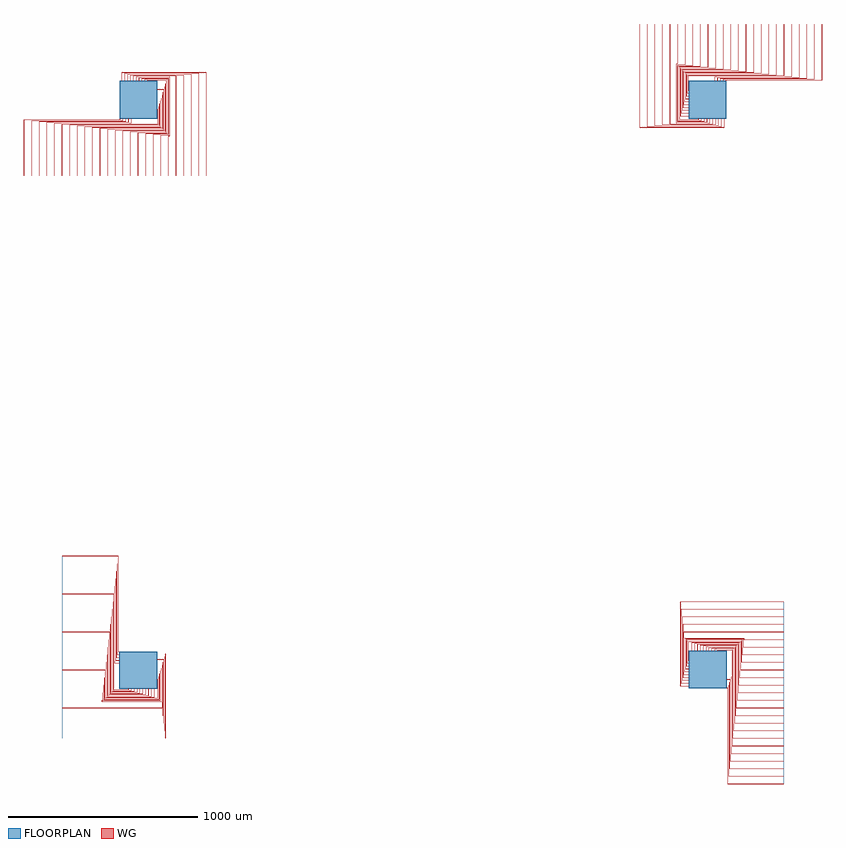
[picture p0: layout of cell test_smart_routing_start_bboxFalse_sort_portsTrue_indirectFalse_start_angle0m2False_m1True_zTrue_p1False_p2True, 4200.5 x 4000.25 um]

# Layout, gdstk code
import gdstk
lib = gdstk.Library(unit=1e-6, precision=1e-09)
def R(c, l, rs):  # rectangles x0, y0, x1, y1
    for r in rs: c.add(gdstk.rectangle(r[:2], r[2:], *l))
def P(c, l, *ps):  # polygons
    for p in ps: c.add(gdstk.Polygon(p, *l))
WG = (1, 0)
FLOORPLAN = (10, 0)

test_smart_routing_start = lib.new_cell('test_smart_routing_start_bboxFalse_sort_portsTrue_indirectFalse_start_angle0m2False_m1True_zTrue_p1False_p2True')
P(test_smart_routing_start, WG, [(-104.5,94.75),(-104.5,599.75),(-400,599.75),(-400,600.25),(-104,600.25),(-104,95.25),(-100,95.25),(-100,94.75)],
  [(-109,79.75),(-109,559.75),(-400,559.75),(-400,560.25),(-108.5,560.25),(-108.5,80.25),(-100,80.25),(-100,79.75)],
  [(-113.5,64.75),(-113.5,519.75),(-400,519.75),(-400,520.25),(-113,520.25),(-113,65.25),(-100,65.25),(-100,64.75)],
  [(-118,49.75),(-118,479.75),(-400,479.75),(-400,480.25),(-117.5,480.25),(-117.5,50.25),(-100,50.25),(-100,49.75)],
  [(-122.5,34.75),(-122.5,439.75),(-400,439.75),(-400,440.25),(-122,440.25),(-122,35.25),(-100,35.25),(-100,34.75)],
  [(-127,-104.5),(-127,399.75),(-400,399.75),(-400,400.25),(-126.5,400.25),(-126.5,-104),(-50.25,-104),(-50.25,-100),(-49.75,-100),(-49.75,-104.5)],
  [(-131.5,-109),(-131.5,359.75),(-400,359.75),(-400,360.25),(-131,360.25),(-131,-108.5),(-35.25,-108.5),(-35.25,-100),(-34.75,-100),(-34.75,-109)],
  [(-136,-113.5),(-136,319.75),(-400,319.75),(-400,320.25),(-135.5,320.25),(-135.5,-113),(-20.25,-113),(-20.25,-100),(-19.75,-100),(-19.75,-113.5)],
  [(-140.5,-118),(-140.5,279.75),(-400,279.75),(-400,280.25),(-140,280.25),(-140,-117.5),(-5.25,-117.5),(-5.25,-100),(-4.75,-100),(-4.75,-118)],
  [(-145,-122.5),(-145,239.75),(-400,239.75),(-400,240.25),(-144.5,240.25),(-144.5,-122),(9.75,-122),(9.75,-100),(10.25,-100),(10.25,-122.5)],
  [(-149.5,-127),(-149.5,199.75),(-400,199.75),(-400,200.25),(-149,200.25),(-149,-126.5),(24.75,-126.5),(24.75,-100),(25.25,-100),(25.25,-127)],
  [(-154,-131.5),(-154,159.75),(-400,159.75),(-400,160.25),(-153.5,160.25),(-153.5,-131),(39.75,-131),(39.75,-100),(40.25,-100),(40.25,-131.5)],
  [(-158.5,-136),(-158.5,119.75),(-400,119.75),(-400,120.25),(-158,120.25),(-158,-135.5),(54.75,-135.5),(54.75,-100),(55.25,-100),(55.25,-136)],
  [(-163,-140.5),(-163,79.75),(-400,79.75),(-400,80.25),(-162.5,80.25),(-162.5,-140),(69.75,-140),(69.75,-100),(70.25,-100),(70.25,-140.5)],
  [(-167.5,-145),(-167.5,39.75),(-400,39.75),(-400,40.25),(-167,40.25),(-167,-144.5),(84.75,-144.5),(84.75,-100),(85.25,-100),(85.25,-145)],
  [(-172,-149.5),(-172,-0.25),(-400,-0.25),(-400,0.25),(-171.5,0.25),(-171.5,-149),(104,-149),(104,-50.25),(100,-50.25),(100,-49.75),(104.5,-49.75),(104.5,-149.5)],
  [(-176.5,-154),(-176.5,-40.25),(-400,-40.25),(-400,-39.75),(-176,-39.75),(-176,-153.5),(108.5,-153.5),(108.5,-35.25),(100,-35.25),(100,-34.75),(109,-34.75),(109,-154)],
  [(-181,-158.5),(-181,-80.25),(-400,-80.25),(-400,-79.75),(-180.5,-79.75),(-180.5,-158),(113,-158),(113,-20.25),(100,-20.25),(100,-19.75),(113.5,-19.75),(113.5,-158.5)],
  [(-185.5,-163),(-185.5,-120.25),(-400,-120.25),(-400,-119.75),(-185,-119.75),(-185,-162.5),(117.5,-162.5),(117.5,-5.25),(100,-5.25),(100,-4.75),(118,-4.75),(118,-163)],
  [(-190,-167.5),(-190,-160.25),(-400,-160.25),(-400,-159.75),(-189.5,-159.75),(-189.5,-167),(122,-167),(122,9.75),(100,9.75),(100,10.25),(122.5,10.25),(122.5,-167.5)],
  [(-400,-200.25),(-400,-199.75),(126.5,-199.75),(126.5,24.75),(100,24.75),(100,25.25),(127,25.25),(127,-200.25)],
  [(-400,-240.25),(-400,-239.75),(131,-239.75),(131,39.75),(100,39.75),(100,40.25),(131.5,40.25),(131.5,-240.25)],
  [(-400,-280.25),(-400,-279.75),(135.5,-279.75),(135.5,54.75),(100,54.75),(100,55.25),(136,55.25),(136,-280.25)],
  [(-400,-320.25),(-400,-319.75),(140,-319.75),(140,69.75),(100,69.75),(100,70.25),(140.5,70.25),(140.5,-320.25)],
  [(-400,-360.25),(-400,-359.75),(144.5,-359.75),(144.5,84.75),(100,84.75),(100,85.25),(145,85.25),(145,-360.25)],
  [(-600.25,2600),(-600.25,2896),(-95.25,2896),(-95.25,2900),(-94.75,2900),(-94.75,2895.5),(-599.75,2895.5),(-599.75,2600)],
  [(-560.25,2600),(-560.25,2891.5),(-80.25,2891.5),(-80.25,2900),(-79.75,2900),(-79.75,2891),(-559.75,2891),(-559.75,2600)],
  [(-520.25,2600),(-520.25,2887),(-65.25,2887),(-65.25,2900),(-64.75,2900),(-64.75,2886.5),(-519.75,2886.5),(-519.75,2600)],
  [(-480.25,2600),(-480.25,2882.5),(-50.25,2882.5),(-50.25,2900),(-49.75,2900),(-49.75,2882),(-479.75,2882),(-479.75,2600)],
  [(-440.25,2600),(-440.25,2878),(-35.25,2878),(-35.25,2900),(-34.75,2900),(-34.75,2877.5),(-439.75,2877.5),(-439.75,2600)],
  [(-400.25,2600),(-400.25,2873.5),(104,2873.5),(104,2949.75),(100,2949.75),(100,2950.25),(104.5,2950.25),(104.5,2873),(-399.75,2873),(-399.75,2600)],
  [(-360.25,2600),(-360.25,2869),(108.5,2869),(108.5,2964.75),(100,2964.75),(100,2965.25),(109,2965.25),(109,2868.5),(-359.75,2868.5),(-359.75,2600)],
  [(-320.25,2600),(-320.25,2864.5),(113,2864.5),(113,2979.75),(100,2979.75),(100,2980.25),(113.5,2980.25),(113.5,2864),(-319.75,2864),(-319.75,2600)],
  [(-280.25,2600),(-280.25,2860),(117.5,2860),(117.5,2994.75),(100,2994.75),(100,2995.25),(118,2995.25),(118,2859.5),(-279.75,2859.5),(-279.75,2600)],
  [(-240.25,2600),(-240.25,2855.5),(122,2855.5),(122,3009.75),(100,3009.75),(100,3010.25),(122.5,3010.25),(122.5,2855),(-239.75,2855),(-239.75,2600)],
  [(-200.25,2600),(-200.25,2851),(126.5,2851),(126.5,3024.75),(100,3024.75),(100,3025.25),(127,3025.25),(127,2850.5),(-199.75,2850.5),(-199.75,2600)],
  [(-160.25,2600),(-160.25,2846.5),(131,2846.5),(131,3039.75),(100,3039.75),(100,3040.25),(131.5,3040.25),(131.5,2846),(-159.75,2846),(-159.75,2600)],
  [(-120.25,2600),(-120.25,2842),(135.5,2842),(135.5,3054.75),(100,3054.75),(100,3055.25),(136,3055.25),(136,2841.5),(-119.75,2841.5),(-119.75,2600)],
  [(-80.25,2600),(-80.25,2837.5),(140,2837.5),(140,3069.75),(100,3069.75),(100,3070.25),(140.5,3070.25),(140.5,2837),(-79.75,2837),(-79.75,2600)],
  [(-40.25,2600),(-40.25,2833),(144.5,2833),(144.5,3084.75),(100,3084.75),(100,3085.25),(145,3085.25),(145,2832.5),(-39.75,2832.5),(-39.75,2600)],
  [(-0.25,2600),(-0.25,2828.5),(149,2828.5),(149,3104),(50.25,3104),(50.25,3100),(49.75,3100),(49.75,3104.5),(149.5,3104.5),(149.5,2828),(0.25,2828),(0.25,2600)],
  [(39.75,2600),(39.75,2824),(153.5,2824),(153.5,3108.5),(35.25,3108.5),(35.25,3100),(34.75,3100),(34.75,3109),(154,3109),(154,2823.5),(40.25,2823.5),(40.25,2600)],
  [(79.75,2600),(79.75,2819.5),(158,2819.5),(158,3113),(20.25,3113),(20.25,3100),(19.75,3100),(19.75,3113.5),(158.5,3113.5),(158.5,2819),(80.25,2819),(80.25,2600)],
  [(119.75,2600),(119.75,2815),(162.5,2815),(162.5,3117.5),(5.25,3117.5),(5.25,3100),(4.75,3100),(4.75,3118),(163,3118),(163,2814.5),(120.25,2814.5),(120.25,2600)],
  [(159.75,2600),(159.75,2810.5),(167,2810.5),(167,3122),(-9.75,3122),(-9.75,3100),(-10.25,3100),(-10.25,3122.5),(167.5,3122.5),(167.5,2810),(160.25,2810),(160.25,2600)],
  [(199.75,2600),(199.75,3126.5),(-24.75,3126.5),(-24.75,3100),(-25.25,3100),(-25.25,3127),(200.25,3127),(200.25,2600)],
  [(239.75,2600),(239.75,3131),(-39.75,3131),(-39.75,3100),(-40.25,3100),(-40.25,3131.5),(240.25,3131.5),(240.25,2600)],
  [(279.75,2600),(279.75,3135.5),(-54.75,3135.5),(-54.75,3100),(-55.25,3100),(-55.25,3136),(280.25,3136),(280.25,2600)],
  [(319.75,2600),(319.75,3140),(-69.75,3140),(-69.75,3100),(-70.25,3100),(-70.25,3140.5),(320.25,3140.5),(320.25,2600)],
  [(359.75,2600),(359.75,3144.5),(-84.75,3144.5),(-84.75,3100),(-85.25,3100),(-85.25,3145),(360.25,3145),(360.25,2600)],
  [(3104,-600.25),(3104,-95.25),(3100,-95.25),(3100,-94.75),(3104.5,-94.75),(3104.5,-599.75),(3400,-599.75),(3400,-600.25)],
  [(3108.5,-560.25),(3108.5,-80.25),(3100,-80.25),(3100,-79.75),(3109,-79.75),(3109,-559.75),(3400,-559.75),(3400,-560.25)],
  [(3113,-520.25),(3113,-65.25),(3100,-65.25),(3100,-64.75),(3113.5,-64.75),(3113.5,-519.75),(3400,-519.75),(3400,-520.25)],
  [(3117.5,-480.25),(3117.5,-50.25),(3100,-50.25),(3100,-49.75),(3118,-49.75),(3118,-479.75),(3400,-479.75),(3400,-480.25)],
  [(3122,-440.25),(3122,-35.25),(3100,-35.25),(3100,-34.75),(3122.5,-34.75),(3122.5,-439.75),(3400,-439.75),(3400,-440.25)],
  [(3126.5,-400.25),(3126.5,104),(3050.25,104),(3050.25,100),(3049.75,100),(3049.75,104.5),(3127,104.5),(3127,-399.75),(3400,-399.75),(3400,-400.25)],
  [(3131,-360.25),(3131,108.5),(3035.25,108.5),(3035.25,100),(3034.75,100),(3034.75,109),(3131.5,109),(3131.5,-359.75),(3400,-359.75),(3400,-360.25)],
  [(3135.5,-320.25),(3135.5,113),(3020.25,113),(3020.25,100),(3019.75,100),(3019.75,113.5),(3136,113.5),(3136,-319.75),(3400,-319.75),(3400,-320.25)],
  [(3140,-280.25),(3140,117.5),(3005.25,117.5),(3005.25,100),(3004.75,100),(3004.75,118),(3140.5,118),(3140.5,-279.75),(3400,-279.75),(3400,-280.25)],
  [(3144.5,-240.25),(3144.5,122),(2990.25,122),(2990.25,100),(2989.75,100),(2989.75,122.5),(3145,122.5),(3145,-239.75),(3400,-239.75),(3400,-240.25)],
  [(3149,-200.25),(3149,126.5),(2975.25,126.5),(2975.25,100),(2974.75,100),(2974.75,127),(3149.5,127),(3149.5,-199.75),(3400,-199.75),(3400,-200.25)],
  [(3153.5,-160.25),(3153.5,131),(2960.25,131),(2960.25,100),(2959.75,100),(2959.75,131.5),(3154,131.5),(3154,-159.75),(3400,-159.75),(3400,-160.25)],
  [(3158,-120.25),(3158,135.5),(2945.25,135.5),(2945.25,100),(2944.75,100),(2944.75,136),(3158.5,136),(3158.5,-119.75),(3400,-119.75),(3400,-120.25)],
  [(3162.5,-80.25),(3162.5,140),(2930.25,140),(2930.25,100),(2929.75,100),(2929.75,140.5),(3163,140.5),(3163,-79.75),(3400,-79.75),(3400,-80.25)],
  [(3167,-40.25),(3167,144.5),(2915.25,144.5),(2915.25,100),(2914.75,100),(2914.75,145),(3167.5,145),(3167.5,-39.75),(3400,-39.75),(3400,-40.25)],
  [(3171.5,-0.25),(3171.5,149),(2896,149),(2896,50.25),(2900,50.25),(2900,49.75),(2895.5,49.75),(2895.5,149.5),(3172,149.5),(3172,0.25),(3400,0.25),(3400,-0.25)],
  [(2891,34.75),(2891,154),(3176.5,154),(3176.5,40.25),(3400,40.25),(3400,39.75),(3176,39.75),(3176,153.5),(2891.5,153.5),(2891.5,35.25),(2900,35.25),(2900,34.75)],
  [(2886.5,19.75),(2886.5,158.5),(3181,158.5),(3181,80.25),(3400,80.25),(3400,79.75),(3180.5,79.75),(3180.5,158),(2887,158),(2887,20.25),(2900,20.25),(2900,19.75)],
  [(2882,4.75),(2882,163),(3185.5,163),(3185.5,120.25),(3400,120.25),(3400,119.75),(3185,119.75),(3185,162.5),(2882.5,162.5),(2882.5,5.25),(2900,5.25),(2900,4.75)],
  [(2877.5,-10.25),(2877.5,167.5),(3190,167.5),(3190,160.25),(3400,160.25),(3400,159.75),(3189.5,159.75),(3189.5,167),(2878,167),(2878,-9.75),(2900,-9.75),(2900,-10.25)],
  [(2873,-25.25),(2873,200.25),(3400,200.25),(3400,199.75),(2873.5,199.75),(2873.5,-24.75),(2900,-24.75),(2900,-25.25)],
  [(2868.5,-40.25),(2868.5,240.25),(3400,240.25),(3400,239.75),(2869,239.75),(2869,-39.75),(2900,-39.75),(2900,-40.25)],
  [(2864,-55.25),(2864,280.25),(3400,280.25),(3400,279.75),(2864.5,279.75),(2864.5,-54.75),(2900,-54.75),(2900,-55.25)],
  [(2859.5,-70.25),(2859.5,320.25),(3400,320.25),(3400,319.75),(2860,319.75),(2860,-69.75),(2900,-69.75),(2900,-70.25)],
  [(2855,-85.25),(2855,360.25),(3400,360.25),(3400,359.75),(2855.5,359.75),(2855.5,-84.75),(2900,-84.75),(2900,-85.25)],
  [(3094.75,3100),(3094.75,3104.5),(3599.75,3104.5),(3599.75,3400),(3600.25,3400),(3600.25,3104),(3095.25,3104),(3095.25,3100)],
  [(3079.75,3100),(3079.75,3109),(3559.75,3109),(3559.75,3400),(3560.25,3400),(3560.25,3108.5),(3080.25,3108.5),(3080.25,3100)],
  [(3064.75,3100),(3064.75,3113.5),(3519.75,3113.5),(3519.75,3400),(3520.25,3400),(3520.25,3113),(3065.25,3113),(3065.25,3100)],
  [(3049.75,3100),(3049.75,3118),(3479.75,3118),(3479.75,3400),(3480.25,3400),(3480.25,3117.5),(3050.25,3117.5),(3050.25,3100)],
  [(3034.75,3100),(3034.75,3122.5),(3439.75,3122.5),(3439.75,3400),(3440.25,3400),(3440.25,3122),(3035.25,3122),(3035.25,3100)],
  [(2895.5,3049.75),(2895.5,3127),(3399.75,3127),(3399.75,3400),(3400.25,3400),(3400.25,3126.5),(2896,3126.5),(2896,3050.25),(2900,3050.25),(2900,3049.75)],
  [(2891,3034.75),(2891,3131.5),(3359.75,3131.5),(3359.75,3400),(3360.25,3400),(3360.25,3131),(2891.5,3131),(2891.5,3035.25),(2900,3035.25),(2900,3034.75)],
  [(2886.5,3019.75),(2886.5,3136),(3319.75,3136),(3319.75,3400),(3320.25,3400),(3320.25,3135.5),(2887,3135.5),(2887,3020.25),(2900,3020.25),(2900,3019.75)],
  [(2882,3004.75),(2882,3140.5),(3279.75,3140.5),(3279.75,3400),(3280.25,3400),(3280.25,3140),(2882.5,3140),(2882.5,3005.25),(2900,3005.25),(2900,3004.75)],
  [(2877.5,2989.75),(2877.5,3145),(3239.75,3145),(3239.75,3400),(3240.25,3400),(3240.25,3144.5),(2878,3144.5),(2878,2990.25),(2900,2990.25),(2900,2989.75)],
  [(2873,2974.75),(2873,3149.5),(3199.75,3149.5),(3199.75,3400),(3200.25,3400),(3200.25,3149),(2873.5,3149),(2873.5,2975.25),(2900,2975.25),(2900,2974.75)],
  [(2868.5,2959.75),(2868.5,3154),(3159.75,3154),(3159.75,3400),(3160.25,3400),(3160.25,3153.5),(2869,3153.5),(2869,2960.25),(2900,2960.25),(2900,2959.75)],
  [(2864,2944.75),(2864,3158.5),(3119.75,3158.5),(3119.75,3400),(3120.25,3400),(3120.25,3158),(2864.5,3158),(2864.5,2945.25),(2900,2945.25),(2900,2944.75)],
  [(2859.5,2929.75),(2859.5,3163),(3079.75,3163),(3079.75,3400),(3080.25,3400),(3080.25,3162.5),(2860,3162.5),(2860,2930.25),(2900,2930.25),(2900,2929.75)],
  [(2855,2914.75),(2855,3167.5),(3039.75,3167.5),(3039.75,3400),(3040.25,3400),(3040.25,3167),(2855.5,3167),(2855.5,2915.25),(2900,2915.25),(2900,2914.75)],
  [(2850.5,2895.5),(2850.5,3172),(2999.75,3172),(2999.75,3400),(3000.25,3400),(3000.25,3171.5),(2851,3171.5),(2851,2896),(2949.75,2896),(2949.75,2900),(2950.25,2900),(2950.25,2895.5)],
  [(2846,2891),(2846,3176.5),(2959.75,3176.5),(2959.75,3400),(2960.25,3400),(2960.25,3176),(2846.5,3176),(2846.5,2891.5),(2964.75,2891.5),(2964.75,2900),(2965.25,2900),(2965.25,2891)],
  [(2841.5,2886.5),(2841.5,3181),(2919.75,3181),(2919.75,3400),(2920.25,3400),(2920.25,3180.5),(2842,3180.5),(2842,2887),(2979.75,2887),(2979.75,2900),(2980.25,2900),(2980.25,2886.5)],
  [(2837,2882),(2837,3185.5),(2879.75,3185.5),(2879.75,3400),(2880.25,3400),(2880.25,3185),(2837.5,3185),(2837.5,2882.5),(2994.75,2882.5),(2994.75,2900),(2995.25,2900),(2995.25,2882)],
  [(2832.5,2877.5),(2832.5,3190),(2839.75,3190),(2839.75,3400),(2840.25,3400),(2840.25,3189.5),(2833,3189.5),(2833,2878),(3009.75,2878),(3009.75,2900),(3010.25,2900),(3010.25,2877.5)],
  [(2799.75,2873),(2799.75,3400),(2800.25,3400),(2800.25,2873.5),(3024.75,2873.5),(3024.75,2900),(3025.25,2900),(3025.25,2873)],
  [(2759.75,2868.5),(2759.75,3400),(2760.25,3400),(2760.25,2869),(3039.75,2869),(3039.75,2900),(3040.25,2900),(3040.25,2868.5)],
  [(2719.75,2864),(2719.75,3400),(2720.25,3400),(2720.25,2864.5),(3054.75,2864.5),(3054.75,2900),(3055.25,2900),(3055.25,2864)],
  [(2679.75,2859.5),(2679.75,3400),(2680.25,3400),(2680.25,2860),(3069.75,2860),(3069.75,2900),(3070.25,2900),(3070.25,2859.5)],
  [(2639.75,2855),(2639.75,3400),(2640.25,3400),(2640.25,2855.5),(3084.75,2855.5),(3084.75,2900),(3085.25,2900),(3085.25,2855)])
R(test_smart_routing_start, FLOORPLAN, [(-100,-100,100,95), (2900,-95,3100,100), (-95,2900,100,3100), (2900,2900,3095,3100)])
P(test_smart_routing_start, FLOORPLAN, [(-400,-360),(-400,600),(-400,600),(-400,-360)],
  [(-600,2600),(-600,2600),(360,2600),(360,2600)],
  [(3400,-600),(3400,360),(3400,360),(3400,-600)],
  [(2640,3400),(2640,3400),(3600,3400),(3600,3400)])

lib.write_gds('test_smart_routing_start_bboxFalse_sort_portsTrue_indirectFalse_start_angle0m2False_m1True_zTrue_p1False_p2True.gds')
